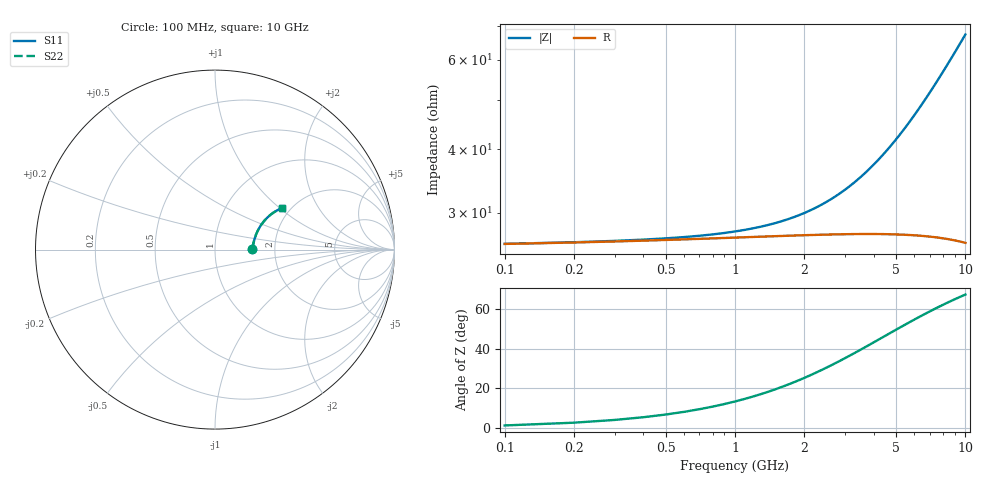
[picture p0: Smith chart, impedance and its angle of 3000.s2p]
# Hz S RI R 50.00
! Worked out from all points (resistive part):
!   100 points, 100 MHz to 10 GHz, reference 50 ohm
!   read as one part in series: R = 26 ohm at 100 MHz
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1e8  0.2066 0.00321  0.7934 -0.00478  0.7934 -0.00478  0.2066 0.00321
2e8  0.2077 0.00641  0.7923 -0.00954  0.7923 -0.00954  0.2077 0.00641
4e8  0.2093 0.0128  0.7906 -0.019  0.7906 -0.019  0.2093 0.0128
8e8  0.212 0.0253  0.7879 -0.0379  0.7879 -0.0379  0.212 0.0253
1.1e9  0.214 0.0347  0.7858 -0.0519  0.7858 -0.0519  0.214 0.0347
1.4e9  0.2162 0.0439  0.7835 -0.0659  0.7835 -0.0659  0.2162 0.0439
1.8e9  0.2195 0.0561  0.7801 -0.0843  0.7801 -0.0843  0.2195 0.0561
2.1e9  0.2222 0.0651  0.7772 -0.098  0.7772 -0.098  0.2222 0.0651
2.5e9  0.2262 0.0769  0.7729 -0.1162  0.7729 -0.1162  0.2262 0.0769
2.9e9  0.2308 0.0885  0.7681 -0.134  0.7681 -0.134  0.2308 0.0885
3.4e9  0.2371 0.1026  0.7613 -0.156  0.7613 -0.156  0.2371 0.1026
3.8e9  0.2426 0.1135  0.7554 -0.1732  0.7554 -0.1732  0.2426 0.1135
4.2e9  0.2487 0.1241  0.7489 -0.1901  0.7489 -0.1901  0.2487 0.1241
4.6e9  0.2551 0.1344  0.7419 -0.2067  0.7419 -0.2067  0.2551 0.1344
5.1e9  0.2638 0.1467  0.7326 -0.2269  0.7326 -0.2269  0.2638 0.1467
5.9e9  0.2789 0.1651  0.7163 -0.258  0.7163 -0.258  0.2789 0.1651
6.7e9  0.2954 0.1818  0.6984 -0.2874  0.6984 -0.2874  0.2954 0.1818
7.2e9  0.3063 0.1913  0.6866 -0.3048  0.6866 -0.3048  0.3063 0.1913
7.6e9  0.3153 0.1984  0.6767 -0.3183  0.6767 -0.3183  0.3153 0.1984
8.4e9  0.3339 0.2112  0.6563 -0.3439  0.6563 -0.3439  0.3339 0.2112
9.2e9  0.3532 0.2222  0.635 -0.3677  0.635 -0.3677  0.3532 0.2222
1e10  0.3731 0.2313  0.6129 -0.3897  0.6129 -0.3897  0.3731 0.2313
